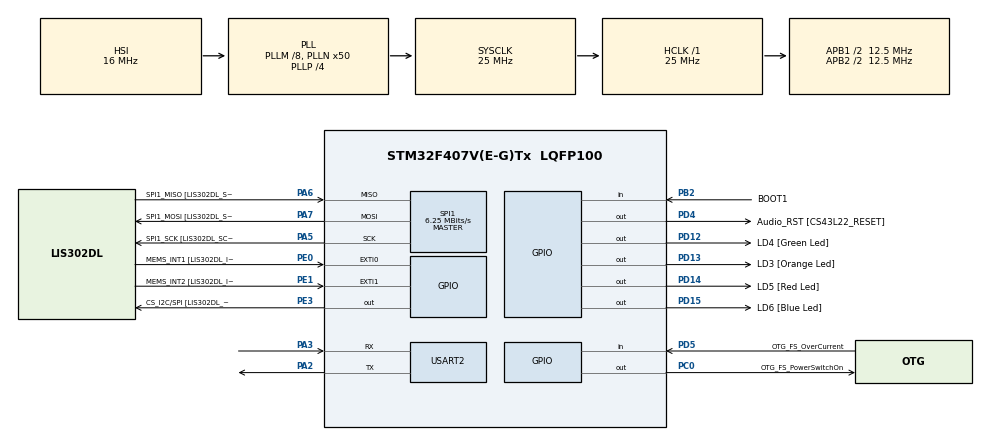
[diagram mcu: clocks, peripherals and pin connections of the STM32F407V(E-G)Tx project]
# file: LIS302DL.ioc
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Mcu.Family=STM32F4
Mcu.Name=STM32F407V(E-G)Tx
Mcu.Package=LQFP100
NVIC.PriorityGroup=NVIC_PRIORITYGROUP_0
NVIC.TIM3_IRQn=true\:0\:0\:false\:false\:true
PA10.GPIO_Label=OTG_FS_ID
PA10.GPIO_Mode=GPIO_MODE_AF_PP
PA10.GPIO_PuPd=GPIO_NOPULL
PA10.GPIO_Speed=GPIO_SPEED_FREQ_LOW
PA10.Signal=USB_OTG_FS_ID
PA11.GPIO_Label=OTG_FS_DM
PA11.GPIO_Mode=GPIO_MODE_AF_PP
PA11.GPIO_PuPd=GPIO_NOPULL
PA11.GPIO_Speed=GPIO_SPEED_FREQ_LOW
PA11.Signal=USB_OTG_FS_DM
PA12.GPIO_Label=OTG_FS_DP
PA12.GPIO_Mode=GPIO_MODE_AF_PP
PA12.GPIO_PuPd=GPIO_NOPULL
PA12.GPIO_Speed=GPIO_SPEED_FREQ_LOW
PA12.Signal=USB_OTG_FS_DP
PA13.GPIO_Label=SWDIO
PA13.Signal=SYS_JTMS-SWDIO
PA14.GPIO_Label=SWCLK
PA14.Signal=SYS_JTCK-SWCLK
PA2.Mode=Asynchronous
PA2.Signal=USART2_TX
PA3.Mode=Asynchronous
PA3.Signal=USART2_RX
PA4.GPIO_Label=I2S3_WS [CS43L22_LRCK]
PA4.GPIO_Mode=GPIO_MODE_AF_PP
PA4.GPIO_PuPd=GPIO_NOPULL
PA4.GPIO_Speed=GPIO_SPEED_FREQ_LOW
PA4.Signal=I2S3_WS
PA5.GPIO_Label=SPI1_SCK [LIS302DL_SCL/SPC]
PA5.GPIO_Mode=GPIO_MODE_AF_PP
PA5.GPIO_PuPd=GPIO_NOPULL
PA5.GPIO_Speed=GPIO_SPEED_FREQ_LOW
PA5.Mode=Full_Duplex_Master
PA5.Signal=SPI1_SCK
PA6.GPIO_Label=SPI1_MISO [LIS302DL_SDO]
PA6.GPIO_Mode=GPIO_MODE_AF_PP
PA6.GPIO_PuPd=GPIO_NOPULL
PA6.GPIO_Speed=GPIO_SPEED_FREQ_LOW
PA6.Mode=Full_Duplex_Master
PA6.Signal=SPI1_MISO
PA7.GPIO_Label=SPI1_MOSI [LIS302DL_SDA/SDI/SDO]
PA7.GPIO_Mode=GPIO_MODE_AF_PP
PA7.GPIO_PuPd=GPIO_NOPULL
PA7.GPIO_Speed=GPIO_SPEED_FREQ_LOW
PA7.Mode=Full_Duplex_Master
PA7.Signal=SPI1_MOSI
PA9.GPIO_Label=VBUS_FS
PA9.GPIO_Mode=GPIO_MODE_INPUT
PA9.GPIO_PuPd=GPIO_NOPULL
PA9.Signal=USB_OTG_FS_VBUS
PB10.GPIO_Label=CLK_IN [MP45DT02_CLK]
PB10.GPIO_Mode=GPIO_MODE_AF_PP
PB10.GPIO_PuPd=GPIO_NOPULL
PB10.GPIO_Speed=GPIO_SPEED_FREQ_LOW
PB10.Signal=I2S2_CK
PB2.GPIO_Label=BOOT1
PB2.GPIO_Mode=GPIO_MODE_INPUT
PB2.GPIO_PuPd=GPIO_NOPULL
PB2.Signal=GPIO_Input
PB3.GPIO_Label=SWO
PB3.Signal=SYS_JTDO-SWO
PB6.GPIO_Label=Audio_SCL [CS43L22_SCL]
PB6.GPIO_Mode=GPIO_MODE_AF_OD
PB6.GPIO_PuPd=GPIO_NOPULL
PB6.GPIO_Speed=GPIO_SPEED_FREQ_LOW
PB6.Signal=I2C1_SCL
PB9.GPIO_Label=Audio_SDA [CS43L22_SDA]
PB9.GPIO_Mode=GPIO_MODE_AF_OD
PB9.GPIO_PuPd=GPIO_NOPULL
PB9.GPIO_Speed=GPIO_SPEED_FREQ_LOW
PB9.Signal=I2C1_SDA
PC0.GPIO_Label=OTG_FS_PowerSwitchOn
PC0.GPIO_PuPd=GPIO_NOPULL
PC0.GPIO_Speed=GPIO_SPEED_FREQ_LOW
PC0.PinState=GPIO_PIN_SET
PC0.Signal=GPIO_Output
PC10.GPIO_Label=I2S3_SCK [CS43L22_SCLK]
PC10.GPIO_Mode=GPIO_MODE_AF_PP
PC10.GPIO_PuPd=GPIO_NOPULL
PC10.GPIO_Speed=GPIO_SPEED_FREQ_LOW
PC10.Signal=I2S3_CK
PC12.GPIO_Label=I2S3_SD [CS43L22_SDIN]
PC12.GPIO_Mode=GPIO_MODE_AF_PP
PC12.GPIO_PuPd=GPIO_NOPULL
PC12.GPIO_Speed=GPIO_SPEED_FREQ_LOW
PC12.Signal=I2S3_SD
PC14-OSC32_IN.GPIO_Label=PC14-OSC32_IN
PC14-OSC32_IN.Signal=RCC_OSC32_IN
PC15-OSC32_OUT.GPIO_Label=PC15-OSC32_OUT
PC15-OSC32_OUT.Signal=RCC_OSC32_OUT
PC3.GPIO_Label=PDM_OUT [MP45DT02_DOUT]
PC3.GPIO_Mode=GPIO_MODE_AF_PP
PC3.GPIO_PuPd=GPIO_NOPULL
PC3.GPIO_Speed=GPIO_SPEED_FREQ_LOW
PC3.Signal=I2S2_SD
PC7.GPIO_Label=I2S3_MCK [CS43L22_MCLK]
PC7.GPIO_Mode=GPIO_MODE_AF_PP
PC7.GPIO_PuPd=GPIO_NOPULL
PC7.GPIO_Speed=GPIO_SPEED_FREQ_LOW
PC7.Signal=I2S3_MCK
PD12.GPIO_Label=LD4 [Green Led]
PD12.GPIO_PuPd=GPIO_NOPULL
PD12.GPIO_Speed=GPIO_SPEED_FREQ_LOW
PD12.Signal=GPIO_Output
PD13.GPIO_Label=LD3 [Orange Led]
PD13.GPIO_PuPd=GPIO_NOPULL
PD13.GPIO_Speed=GPIO_SPEED_FREQ_LOW
PD13.Signal=GPIO_Output
PD14.GPIO_Label=LD5 [Red Led]
PD14.GPIO_PuPd=GPIO_NOPULL
PD14.GPIO_Speed=GPIO_SPEED_FREQ_LOW
PD14.Signal=GPIO_Output
PD15.GPIO_Label=LD6 [Blue Led]
PD15.GPIO_PuPd=GPIO_NOPULL
PD15.GPIO_Speed=GPIO_SPEED_FREQ_LOW
PD15.Signal=GPIO_Output
PD4.GPIO_Label=Audio_RST [CS43L22_RESET]
PD4.GPIO_PuPd=GPIO_NOPULL
PD4.GPIO_Speed=GPIO_SPEED_FREQ_LOW
PD4.Signal=GPIO_Output
PD5.GPIO_Label=OTG_FS_OverCurrent
PD5.GPIO_Mode=GPIO_MODE_INPUT
PD5.GPIO_PuPd=GPIO_NOPULL
PD5.Signal=GPIO_Input
PE0.GPIO_Label=MEMS_INT1 [LIS302DL_INT1]
PE0.Signal=GPXTI0
PE1.GPIO_Label=MEMS_INT2 [LIS302DL_INT2]
PE1.GPIO_ModeDefaultEXTI=GPIO_MODE_EVT_RISING
PE1.GPIO_PuPd=GPIO_NOPULL
PE1.Signal=GPXTI1
PE3.GPIO_Label=CS_I2C/SPI [LIS302DL_CS_I2C/SPI]
PE3.GPIO_PuPd=GPIO_NOPULL
PE3.GPIO_Speed=GPIO_SPEED_FREQ_LOW
PE3.Signal=GPIO_Output
PH0-OSC_IN.GPIO_Label=PH0-OSC_IN
PH0-OSC_IN.Signal=RCC_OSC_IN
PH1-OSC_OUT.GPIO_Label=PH1-OSC_OUT
PH1-OSC_OUT.Signal=RCC_OSC_OUT
ProjectManager.HeapSize=0x200
ProjectManager.StackSize=0x400
ProjectManager.TargetToolchain=SW4STM32
RCC.48MHZClocksFreq_Value=14285714.285714285
RCC.AHBFreq_Value=25000000
RCC.APB1CLKDivider=RCC_HCLK_DIV2
RCC.APB1Freq_Value=12500000
RCC.APB1TimFreq_Value=25000000
RCC.APB2CLKDivider=RCC_HCLK_DIV2
RCC.APB2Freq_Value=12500000
RCC.APB2TimFreq_Value=25000000
RCC.CortexFreq_Value=25000000
RCC.HCLKFreq_Value=25000000
RCC.HSE_VALUE=8000000
RCC.HSI_VALUE=16000000
RCC.LSE_VALUE=32768
RCC.PLLM=8
RCC.PLLN=50
RCC.PLLP=RCC_PLLP_DIV4
RCC.PLLQ=7
RCC.SYSCLKFreq_VALUE=25000000
RCC.SYSCLKSource=RCC_SYSCLKSOURCE_PLLCLK
RCC.VCOOutputFreq_Value=100000000
SPI1.CalculateBaudRate=6.25 MBits/s
SPI1.Mode=SPI_MODE_MASTER
TIM3.Period=999
TIM3.Prescaler=249
VP_TIM3_VS_ClockSourceINT.Mode=Internal
board=STM32F407G-DISC1

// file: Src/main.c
/**
 ******************************************************************************
 * File Name          : main.c
 * Description        : Main program body
 ******************************************************************************
 *
 * COPYRIGHT(c) 2016 STMicroelectronics
 *
 * Redistribution and use in source and binary forms, with or without modification,
 * are permitted provided that the following conditions are met:
 *   1. Redistributions of source code must retain the above copyright notice,
 *      this list of conditions and the following disclaimer.
 *   2. Redistributions in binary form must reproduce the above copyright notice,
 *      this list of conditions and the following disclaimer in the documentation
 *      and/or other materials provided with the distribution.
 *   3. Neither the name of STMicroelectronics nor the names of its contributors
 *      may be used to endorse or promote products derived from this software
 *      without specific prior written permission.
 *
 * THIS SOFTWARE IS PROVIDED BY THE COPYRIGHT HOLDERS AND CONTRIBUTORS "AS IS"
 * AND ANY EXPRESS OR IMPLIED WARRANTIES, INCLUDING, BUT NOT LIMITED TO, THE
 * IMPLIED WARRANTIES OF MERCHANTABILITY AND FITNESS FOR A PARTICULAR PURPOSE ARE
 * DISCLAIMED. IN NO EVENT SHALL THE COPYRIGHT HOLDER OR CONTRIBUTORS BE LIABLE
 * FOR ANY DIRECT, INDIRECT, INCIDENTAL, SPECIAL, EXEMPLARY, OR CONSEQUENTIAL
 * DAMAGES (INCLUDING, BUT NOT LIMITED TO, PROCUREMENT OF SUBSTITUTE GOODS OR
 * SERVICES; LOSS OF USE, DATA, OR PROFITS; OR BUSINESS INTERRUPTION) HOWEVER
 * CAUSED AND ON ANY THEORY OF LIABILITY, WHETHER IN CONTRACT, STRICT LIABILITY,
 * OR TORT (INCLUDING NEGLIGENCE OR OTHERWISE) ARISING IN ANY WAY OUT OF THE USE
 * OF THIS SOFTWARE, EVEN IF ADVISED OF THE POSSIBILITY OF SUCH DAMAGE.
 *
 ******************************************************************************
 */
#include "main.h"
#include "stm32f4xx_hal.h"

/* USER CODE BEGIN Includes */
#include <inttypes.h>
#include <stdio.h>
#define SPI_TIMEOUT 20
#define UART_TIMEOUT 50
#define ACC_CS_GPIO_TYPE GPIOE
#define ACC_CS_GPIO_PIN_NUMBER GPIO_PIN_3
/* USER CODE END Includes */

SPI_HandleTypeDef hspi1;

TIM_HandleTypeDef htim3;

UART_HandleTypeDef huart2;

/* USER CODE BEGIN PV */
/* Private variables ---------------------------------------------------------*/
uint8_t acc_write_nonincremented_address_header = 0b00;
uint8_t acc_read_nonincremented_address_header = 0b10;
/* USER CODE END PV */

void SystemClock_Config(void);
void Error_Handler(void);
static void MX_GPIO_Init(void);
static void MX_SPI1_Init(void);
static void MX_USART2_UART_Init(void);
static void MX_TIM3_Init(void);

/* USER CODE BEGIN PFP */

/* Private function prototypes -----------------------------------------------*/
void set_cs_before_communicating_with_acc();
void set_cs_after_communicating_with_acc();

uint8_t read_from_acc_reg(uint8_t address);
int8_t read_from_acc_reg_with_sign(uint8_t address);
void write_to_acc_reg(uint8_t address, uint8_t data);
uint8_t acc_who_am_i();
void acc_init();
int8_t acc_read_x();
int8_t acc_read_y();
int8_t acc_read_z();
void show_acc_led_indicator(int8_t x_acc, int8_t y_acc, int8_t z_acc);
void send_data_via_uart(char *data);
void HAL_TIM_PeriodElapsedCallback(TIM_HandleTypeDef *htim);

/* USER CODE END PFP */

/* USER CODE BEGIN 0 */

char string_buffer[100];

/* USER CODE END 0 */

int main(void) {

	/* MCU Configuration----------------------------------------------------------*/

	/* Reset of all peripherals, Initializes the Flash interface and the Systick. */
	HAL_Init();

	/* Configure the system clock */
	SystemClock_Config();

	/* Initialize all configured peripherals */
	MX_GPIO_Init();
	MX_SPI1_Init();
	MX_USART2_UART_Init();
	MX_TIM3_Init();

	/* USER CODE BEGIN 2 */

	// Initialize an accelerometer
	acc_init();

	// Device Identification
	uint8_t device_id = acc_who_am_i();
	sprintf(string_buffer, "Device Identification: %d\n\r", device_id);
	send_data_via_uart(string_buffer);

	// Start timer3
	HAL_TIM_Base_Start_IT(&htim3);

	/* USER CODE END 2 */

	/* Infinite loop */
	while (1) {

	}

}

/** System Clock Configuration
 */
void SystemClock_Config(void) {

	RCC_OscInitTypeDef RCC_OscInitStruct;
	RCC_ClkInitTypeDef RCC_ClkInitStruct;

	/**Configure the main internal regulator output voltage
	 */
	__HAL_RCC_PWR_CLK_ENABLE()
	;

	__HAL_PWR_VOLTAGESCALING_CONFIG(PWR_REGULATOR_VOLTAGE_SCALE1);

	/**Initializes the CPU, AHB and APB busses clocks
	 */
	RCC_OscInitStruct.OscillatorType = RCC_OSCILLATORTYPE_HSI;
	RCC_OscInitStruct.HSIState = RCC_HSI_ON;
	RCC_OscInitStruct.HSICalibrationValue = 16;
	RCC_OscInitStruct.PLL.PLLState = RCC_PLL_ON;
	RCC_OscInitStruct.PLL.PLLSource = RCC_PLLSOURCE_HSI;
	RCC_OscInitStruct.PLL.PLLM = 8;
	RCC_OscInitStruct.PLL.PLLN = 50;
	RCC_OscInitStruct.PLL.PLLP = RCC_PLLP_DIV4;
	RCC_OscInitStruct.PLL.PLLQ = 7;
	if (HAL_RCC_OscConfig(&RCC_OscInitStruct) != HAL_OK) {
		Error_Handler();
	}

	/**Initializes the CPU, AHB and APB busses clocks
	 */
	RCC_ClkInitStruct.ClockType = RCC_CLOCKTYPE_HCLK | RCC_CLOCKTYPE_SYSCLK
			| RCC_CLOCKTYPE_PCLK1 | RCC_CLOCKTYPE_PCLK2;
	RCC_ClkInitStruct.SYSCLKSource = RCC_SYSCLKSOURCE_PLLCLK;
	RCC_ClkInitStruct.AHBCLKDivider = RCC_SYSCLK_DIV1;
	RCC_ClkInitStruct.APB1CLKDivider = RCC_HCLK_DIV2;
	RCC_ClkInitStruct.APB2CLKDivider = RCC_HCLK_DIV2;

	if (HAL_RCC_ClockConfig(&RCC_ClkInitStruct, FLASH_LATENCY_0) != HAL_OK) {
		Error_Handler();
	}

	/**Configure the Systick interrupt time
	 */
	HAL_SYSTICK_Config(HAL_RCC_GetHCLKFreq() / 1000);

	/**Configure the Systick
	 */
	HAL_SYSTICK_CLKSourceConfig(SYSTICK_CLKSOURCE_HCLK);

	/* SysTick_IRQn interrupt configuration */
	HAL_NVIC_SetPriority(SysTick_IRQn, 0, 0);
}

/* SPI1 init function */
static void MX_SPI1_Init(void) {

	hspi1.Instance = SPI1;
	hspi1.Init.Mode = SPI_MODE_MASTER;
	hspi1.Init.Direction = SPI_DIRECTION_2LINES;
	hspi1.Init.DataSize = SPI_DATASIZE_8BIT;
	hspi1.Init.CLKPolarity = SPI_POLARITY_LOW;
	hspi1.Init.CLKPhase = SPI_PHASE_1EDGE;
	hspi1.Init.NSS = SPI_NSS_SOFT;
	hspi1.Init.BaudRatePrescaler = SPI_BAUDRATEPRESCALER_2;
	hspi1.Init.FirstBit = SPI_FIRSTBIT_MSB;
	hspi1.Init.TIMode = SPI_TIMODE_DISABLE;
	hspi1.Init.CRCCalculation = SPI_CRCCALCULATION_DISABLE;
	hspi1.Init.CRCPolynomial = 10;
	if (HAL_SPI_Init(&hspi1) != HAL_OK) {
		Error_Handler();
	}

}

/* TIM3 init function */
static void MX_TIM3_Init(void) {

	TIM_ClockConfigTypeDef sClockSourceConfig;
	TIM_MasterConfigTypeDef sMasterConfig;

	htim3.Instance = TIM3;
	htim3.Init.Prescaler = 249;
	htim3.Init.CounterMode = TIM_COUNTERMODE_UP;
	htim3.Init.Period = 999;
	htim3.Init.ClockDivision = TIM_CLOCKDIVISION_DIV1;
	if (HAL_TIM_Base_Init(&htim3) != HAL_OK) {
		Error_Handler();
	}

	sClockSourceConfig.ClockSource = TIM_CLOCKSOURCE_INTERNAL;
	if (HAL_TIM_ConfigClockSource(&htim3, &sClockSourceConfig) != HAL_OK) {
		Error_Handler();
	}

	sMasterConfig.MasterOutputTrigger = TIM_TRGO_RESET;
	sMasterConfig.MasterSlaveMode = TIM_MASTERSLAVEMODE_DISABLE;
	if (HAL_TIMEx_MasterConfigSynchronization(&htim3, &sMasterConfig) != HAL_OK) {
		Error_Handler();
	}

}

/* USART2 init function */
static void MX_USART2_UART_Init(void) {

	huart2.Instance = USART2;
	huart2.Init.BaudRate = 115200;
	huart2.Init.WordLength = UART_WORDLENGTH_8B;
	huart2.Init.StopBits = UART_STOPBITS_1;
	huart2.Init.Parity = UART_PARITY_NONE;
	huart2.Init.Mode = UART_MODE_TX_RX;
	huart2.Init.HwFlowCtl = UART_HWCONTROL_NONE;
	huart2.Init.OverSampling = UART_OVERSAMPLING_16;
	if (HAL_UART_Init(&huart2) != HAL_OK) {
		Error_Handler();
	}

}

/** Configure pins as
 * Analog
 * Input
 * Output
 * EVENT_OUT
 * EXTI
 PC3   ------> I2S2_SD
 PA4   ------> I2S3_WS
 PB10   ------> I2S2_CK
 PC7   ------> I2S3_MCK
 PA9   ------> USB_OTG_FS_VBUS
 PA10   ------> USB_OTG_FS_ID
 PA11   ------> USB_OTG_FS_DM
 PA12   ------> USB_OTG_FS_DP
 PC10   ------> I2S3_CK
 PC12   ------> I2S3_SD
 PB6   ------> I2C1_SCL
 PB9   ------> I2C1_SDA
 */
static void MX_GPIO_Init(void) {

	GPIO_InitTypeDef GPIO_InitStruct;

	/* GPIO Ports Clock Enable */
	__HAL_RCC_GPIOE_CLK_ENABLE()
	;
	__HAL_RCC_GPIOC_CLK_ENABLE()
	;
	__HAL_RCC_GPIOH_CLK_ENABLE()
	;
	__HAL_RCC_GPIOA_CLK_ENABLE()
	;
	__HAL_RCC_GPIOB_CLK_ENABLE()
	;
	__HAL_RCC_GPIOD_CLK_ENABLE()
	;

	/*Configure GPIO pin Output Level */
	HAL_GPIO_WritePin(CS_I2C_SPI_GPIO_Port, CS_I2C_SPI_Pin, GPIO_PIN_RESET);

	/*Configure GPIO pin Output Level */
	HAL_GPIO_WritePin(OTG_FS_PowerSwitchOn_GPIO_Port, OTG_FS_PowerSwitchOn_Pin,
			GPIO_PIN_SET);

	/*Configure GPIO pin Output Level */
	HAL_GPIO_WritePin(GPIOD,
			LD4_Pin | LD3_Pin | LD5_Pin | LD6_Pin | Audio_RST_Pin, GPIO_PIN_RESET);

	/*Configure GPIO pin : CS_I2C_SPI_Pin */
	GPIO_InitStruct.Pin = CS_I2C_SPI_Pin;
	GPIO_InitStruct.Mode = GPIO_MODE_OUTPUT_PP;
	GPIO_InitStruct.Pull = GPIO_NOPULL;
	GPIO_InitStruct.Speed = GPIO_SPEED_FREQ_LOW;
	HAL_GPIO_Init(CS_I2C_SPI_GPIO_Port, &GPIO_InitStruct);

	/*Configure GPIO pin : OTG_FS_PowerSwitchOn_Pin */
	GPIO_InitStruct.Pin = OTG_FS_PowerSwitchOn_Pin;
	GPIO_InitStruct.Mode = GPIO_MODE_OUTPUT_PP;
	GPIO_InitStruct.Pull = GPIO_NOPULL;
	GPIO_InitStruct.Speed = GPIO_SPEED_FREQ_LOW;
	HAL_GPIO_Init(OTG_FS_PowerSwitchOn_GPIO_Port, &GPIO_InitStruct);

	/*Configure GPIO pin : PDM_OUT_Pin */
	GPIO_InitStruct.Pin = PDM_OUT_Pin;
	GPIO_InitStruct.Mode = GPIO_MODE_AF_PP;
	GPIO_InitStruct.Pull = GPIO_NOPULL;
	GPIO_InitStruct.Speed = GPIO_SPEED_FREQ_LOW;
	GPIO_InitStruct.Alternate = GPIO_AF5_SPI2;
	HAL_GPIO_Init(PDM_OUT_GPIO_Port, &GPIO_InitStruct);

	/*Configure GPIO pin : PA4 */
	GPIO_InitStruct.Pin = GPIO_PIN_4;
	GPIO_InitStruct.Mode = GPIO_MODE_AF_PP;
	GPIO_InitStruct.Pull = GPIO_NOPULL;
	GPIO_InitStruct.Speed = GPIO_SPEED_FREQ_LOW;
	GPIO_InitStruct.Alternate = GPIO_AF6_SPI3;
	HAL_GPIO_Init(GPIOA, &GPIO_InitStruct);

	/*Configure GPIO pin : BOOT1_Pin */
	GPIO_InitStruct.Pin = BOOT1_Pin;
	GPIO_InitStruct.Mode = GPIO_MODE_INPUT;
	GPIO_InitStruct.Pull = GPIO_NOPULL;
	HAL_GPIO_Init(BOOT1_GPIO_Port, &GPIO_InitStruct);

	/*Configure GPIO pin : CLK_IN_Pin */
	GPIO_InitStruct.Pin = CLK_IN_Pin;
	GPIO_InitStruct.Mode = GPIO_MODE_AF_PP;
	GPIO_InitStruct.Pull = GPIO_NOPULL;
	GPIO_InitStruct.Speed = GPIO_SPEED_FREQ_LOW;
	GPIO_InitStruct.Alternate = GPIO_AF5_SPI2;
	HAL_GPIO_Init(CLK_IN_GPIO_Port, &GPIO_InitStruct);

	/*Configure GPIO pins : LD4_Pin LD3_Pin LD5_Pin LD6_Pin
	 Audio_RST_Pin */
	GPIO_InitStruct.Pin = LD4_Pin | LD3_Pin | LD5_Pin | LD6_Pin | Audio_RST_Pin;
	GPIO_InitStruct.Mode = GPIO_MODE_OUTPUT_PP;
	GPIO_InitStruct.Pull = GPIO_NOPULL;
	GPIO_InitStruct.Speed = GPIO_SPEED_FREQ_LOW;
	HAL_GPIO_Init(GPIOD, &GPIO_InitStruct);

	/*Configure GPIO pins : PC7 I2S3_SCK_Pin PC12 */
	GPIO_InitStruct.Pin = GPIO_PIN_7 | I2S3_SCK_Pin | GPIO_PIN_12;
	GPIO_InitStruct.Mode = GPIO_MODE_AF_PP;
	GPIO_InitStruct.Pull = GPIO_NOPULL;
	GPIO_InitStruct.Speed = GPIO_SPEED_FREQ_LOW;
	GPIO_InitStruct.Alternate = GPIO_AF6_SPI3;
	HAL_GPIO_Init(GPIOC, &GPIO_InitStruct);

	/*Configure GPIO pin : VBUS_FS_Pin */
	GPIO_InitStruct.Pin = VBUS_FS_Pin;
	GPIO_InitStruct.Mode = GPIO_MODE_INPUT;
	GPIO_InitStruct.Pull = GPIO_NOPULL;
	HAL_GPIO_Init(VBUS_FS_GPIO_Port, &GPIO_InitStruct);

	/*Configure GPIO pins : OTG_FS_ID_Pin OTG_FS_DM_Pin OTG_FS_DP_Pin */
	GPIO_InitStruct.Pin = OTG_FS_ID_Pin | OTG_FS_DM_Pin | OTG_FS_DP_Pin;
	GPIO_InitStruct.Mode = GPIO_MODE_AF_PP;
	GPIO_InitStruct.Pull = GPIO_NOPULL;
	GPIO_InitStruct.Speed = GPIO_SPEED_FREQ_LOW;
	GPIO_InitStruct.Alternate = GPIO_AF10_OTG_FS;
	HAL_GPIO_Init(GPIOA, &GPIO_InitStruct);

	/*Configure GPIO pin : OTG_FS_OverCurrent_Pin */
	GPIO_InitStruct.Pin = OTG_FS_OverCurrent_Pin;
	GPIO_InitStruct.Mode = GPIO_MODE_INPUT;
	GPIO_InitStruct.Pull = GPIO_NOPULL;
	HAL_GPIO_Init(OTG_FS_OverCurrent_GPIO_Port, &GPIO_InitStruct);

	/*Configure GPIO pins : Audio_SCL_Pin Audio_SDA_Pin */
	GPIO_InitStruct.Pin = Audio_SCL_Pin | Audio_SDA_Pin;
	GPIO_InitStruct.Mode = GPIO_MODE_AF_OD;
	GPIO_InitStruct.Pull = GPIO_PULLUP;
	GPIO_InitStruct.Speed = GPIO_SPEED_FREQ_LOW;
	GPIO_InitStruct.Alternate = GPIO_AF4_I2C1;
	HAL_GPIO_Init(GPIOB, &GPIO_InitStruct);

	/*Configure GPIO pin : MEMS_INT1_Pin */
	GPIO_InitStruct.Pin = MEMS_INT1_Pin;
	GPIO_InitStruct.Mode = GPIO_MODE_IT_RISING;
	GPIO_InitStruct.Pull = GPIO_NOPULL;
	HAL_GPIO_Init(MEMS_INT1_GPIO_Port, &GPIO_InitStruct);

	/*Configure GPIO pin : MEMS_INT2_Pin */
	GPIO_InitStruct.Pin = MEMS_INT2_Pin;
	GPIO_InitStruct.Mode = GPIO_MODE_EVT_RISING;
	GPIO_InitStruct.Pull = GPIO_NOPULL;
	HAL_GPIO_Init(MEMS_INT2_GPIO_Port, &GPIO_InitStruct);

}

/* USER CODE BEGIN 4 */

/**
 * @brief  Set CS before communicating with an accelerometer.
 * @param  None
 * @retval None
 */
void set_cs_before_communicating_with_acc() {
	// Set to low
	HAL_GPIO_WritePin(ACC_CS_GPIO_TYPE, ACC_CS_GPIO_PIN_NUMBER, GPIO_PIN_RESET);
}

/**
 * @brief  Set CS after communicating with an accelerometer.
 * @param  None
 * @retval None
 */
void set_cs_after_communicating_with_acc() {
	// Set to high
	HAL_GPIO_WritePin(ACC_CS_GPIO_TYPE, ACC_CS_GPIO_PIN_NUMBER, GPIO_PIN_SET);
}

/**
 * @brief  Read data from an specific accelerometer register.
 * @param  address: register address to be read
 * @retval a byte of read data
 */
uint8_t read_from_acc_reg(uint8_t address) {
	set_cs_before_communicating_with_acc();
	uint8_t acc_address_data = (acc_read_nonincremented_address_header << 6) | address;
	HAL_SPI_Transmit(&hspi1, &acc_address_data, 1, SPI_TIMEOUT);

	uint8_t acc_do_data;
	HAL_SPI_Receive(&hspi1, &acc_do_data, 1, SPI_TIMEOUT);
	set_cs_after_communicating_with_acc();
	return acc_do_data;
}

/**
 * @brief  Read data from an specific accelerometer register.
 * @param  address: register address to be read
 * @retval a byte of read data
 */
int8_t read_from_acc_reg_with_sign(uint8_t address) {
	set_cs_before_communicating_with_acc();
	uint8_t acc_address_data = (acc_read_nonincremented_address_header << 6) | address;
	HAL_SPI_Transmit(&hspi1, &acc_address_data, 1, SPI_TIMEOUT);

	int8_t acc_do_data;
	HAL_SPI_Receive(&hspi1, &acc_do_data, 1, SPI_TIMEOUT);
	set_cs_after_communicating_with_acc();
	return acc_do_data;
}

/**
 * @brief  Write data to an specific accelerometer register.
 * @param  address: register address to be written
 * @param  data: data to be written
 * @retval None
 */
void write_to_acc_reg(uint8_t address, uint8_t data) {
	set_cs_before_communicating_with_acc();
	uint8_t acc_address_data = (acc_write_nonincremented_address_header << 6) | address;
	HAL_SPI_Transmit(&hspi1, &acc_address_data, 1, SPI_TIMEOUT);

	uint8_t acc_di_data = data;
	HAL_SPI_Receive(&hspi1, &acc_di_data, 1, SPI_TIMEOUT);
	set_cs_after_communicating_with_acc();
}

/**
 * @brief  Fetch data from WHO_AM_I register to identify an accelerometer device.
 * @param  None
 * @retval None
 */
uint8_t acc_who_am_i() {
	uint8_t who_am_i_reg_addr = 0x0F;
	return read_from_acc_reg(who_am_i_reg_addr);
}

/**
 * @brief  Initialize accelerometer.
 * @param  None
 * @retval None
 */
void acc_init() {
	uint8_t ctrl_reg1_reg_addr = 0x20;
	uint8_t ctrl_reg1_reg_data = 0b01000111;
	write_to_acc_reg(ctrl_reg1_reg_addr, ctrl_reg1_reg_data);
}

/**
 * @brief  Read x-axis acceleration.
 * @param  None
 * @retval x-axis acceleration
 */
int8_t acc_read_x() {
	uint8_t out_x_reg_addr = 0x29;
	return read_from_acc_reg_with_sign(out_x_reg_addr);
}

/**
 * @brief  Read y-axis acceleration.
 * @param  None
 * @retval y-axis acceleration
 */
int8_t acc_read_y() {
	uint8_t out_y_reg_addr = 0x2B;
	return read_from_acc_reg_with_sign(out_y_reg_addr);
}

/**
 * @brief  Read z-axis acceleration.
 * @param  None
 * @retval z-axis acceleration
 */
int8_t acc_read_z() {
	uint8_t out_z_reg_addr = 0x2D;
	return read_from_acc_reg_with_sign(out_z_reg_addr);
}

/**
 * @brief  Send data via UART.
 * @param  data: data to be sent
 * @retval None
 */
void send_data_via_uart(char *data) {
	int i = 0;
	while (data[i] != '\0') {
		HAL_UART_Transmit(&huart2, (uint8_t *) &data[i++], 1, UART_TIMEOUT);
	}
}

/**
 * @brief  Read accerelation data and send them via UART.
 * @param  None
 * @retval None
 */
void read_acceleration_and_send() {
	int8_t x_acc, y_acc, z_acc;
	// Read acceleration data
	x_acc = acc_read_x();
	y_acc = acc_read_y();
	z_acc = acc_read_z();
	sprintf(string_buffer, "x-axis: %d, y-axis: %d, z-axis: %d\n\r", x_acc, y_acc, z_acc);
	send_data_via_uart(string_buffer);
	show_acc_led_indicator(x_acc, y_acc, z_acc);
}

void show_acc_led_indicator(int8_t x_acc, int8_t y_acc, int8_t z_acc) {
	// Left
	if(x_acc < 0) {
		HAL_GPIO_WritePin(GPIOD, GPIO_PIN_12, GPIO_PIN_SET); // Green LED
	} else {
		HAL_GPIO_WritePin(GPIOD, GPIO_PIN_12, GPIO_PIN_RESET); // Green LED
	}
	// Right
	if(x_acc > 0) {
		HAL_GPIO_WritePin(GPIOD, GPIO_PIN_14, GPIO_PIN_SET); // Red LED
	} else {
		HAL_GPIO_WritePin(GPIOD, GPIO_PIN_14, GPIO_PIN_RESET); // Red LED
	}
	// Bottom
	if(y_acc < 0) {
		HAL_GPIO_WritePin(GPIOD, GPIO_PIN_15, GPIO_PIN_SET); // Blue LED
	} else {
		HAL_GPIO_WritePin(GPIOD, GPIO_PIN_15, GPIO_PIN_RESET); // Blue LED
	}
	// Top
	if(y_acc > 0) {
		HAL_GPIO_WritePin(GPIOD, GPIO_PIN_13, GPIO_PIN_SET); // Orange LED
	} else {
		HAL_GPIO_WritePin(GPIOD, GPIO_PIN_13, GPIO_PIN_RESET); // Orange LED
	}
}

/**
 * @brief  (Override) Period elapsed callback in non blocking mode
 * @param  htim: pointer to a TIM_HandleTypeDef structure that contains
 *               the configuration information for TIM module.
 * @retval None
 */
void HAL_TIM_PeriodElapsedCallback(TIM_HandleTypeDef *htim) {
	if (htim->Instance == TIM3) {
		read_acceleration_and_send();
	}
}

/* USER CODE END 4 */

void Error_Handler(void) {
	while (1) {
	}
}

/************************ (C) COPYRIGHT STMicroelectronics *****END OF FILE****/
